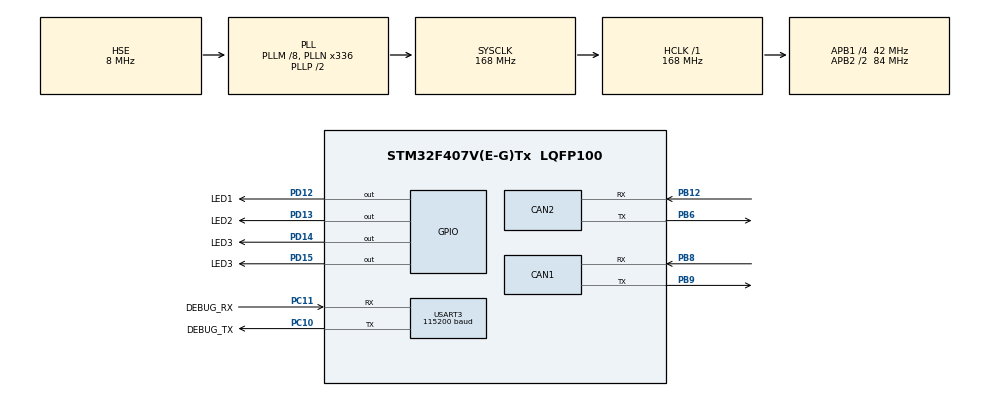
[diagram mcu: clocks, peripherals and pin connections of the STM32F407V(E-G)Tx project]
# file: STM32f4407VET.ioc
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CAN1.CalculateTimeBit-Master=1143
CAN1.CalculateTimeQuantum-Master=381
CAN2.CalculateTimeBit-Slave=1143
CAN2.CalculateTimeQuantum-Slave=381
FREERTOS.INCLUDE_eTaskGetState=1
FREERTOS.INCLUDE_pcTaskGetTaskName=1
FREERTOS.INCLUDE_uxTaskGetStackHighWaterMark=1
FREERTOS.INCLUDE_vTaskCleanUpResources=1
FREERTOS.INCLUDE_vTaskDelayUntil=1
FREERTOS.INCLUDE_xEventGroupSetBitFromISR=1
FREERTOS.INCLUDE_xQueueGetMutexHolder=1
FREERTOS.INCLUDE_xSemaphoreGetMutexHolder=1
FREERTOS.INCLUDE_xTaskGetCurrentTaskHandle=1
FREERTOS.INCLUDE_xTimerPendFunctionCall=1
FREERTOS.Queues01=logQueue,16,uint32_t,NULL
FREERTOS.Tasks01=defaultTask,0,128,StartDefaultTask;UartTask,0,128,uartTaskHandler;LedsTask,-3,128,ledsTaskHandler;LogTask,1,128,logTaskHandler
FREERTOS.configCHECK_FOR_STACK_OVERFLOW=2
FREERTOS.configENABLE_BACKWARD_COMPATIBILITY=0
FREERTOS.configGENERATE_RUN_TIME_STATS=1
FREERTOS.configMAX_PRIORITIES=7
FREERTOS.configTICK_RATE_HZ=200
FREERTOS.configTOTAL_HEAP_SIZE=15360
FREERTOS.configUSE_IDLE_HOOK=1
FREERTOS.configUSE_MALLOC_FAILED_HOOK=1
FREERTOS.configUSE_TICK_HOOK=1
FREERTOS.configUSE_TIMERS=1
Mcu.Family=STM32F4
Mcu.Name=STM32F407V(E-G)Tx
Mcu.Package=LQFP100
NVIC.PriorityGroup=NVIC_PRIORITYGROUP_4
NVIC.RTC_Alarm_IRQn=true\:5\:0\:false
PA13.Mode=Trace-Asynchronous_SW
PA13.Signal=SYS_JTMS-SWDIO
PA14.Mode=Trace-Asynchronous_SW
PA14.Signal=SYS_JTCK-SWCLK
PB12.Mode=Slave
PB12.Signal=CAN2_RX
PB3.Mode=Trace-Asynchronous_SW
PB3.Signal=SYS_JTDO-SWO
PB6.Mode=Slave
PB6.Signal=CAN2_TX
PB8.Mode=Master
PB8.Signal=CAN1_RX
PB9.Mode=Master
PB9.Signal=CAN1_TX
PC10.GPIO_Label=DEBUG_TX
PC10.GPIO_Mode=GPIO_MODE_AF_PP
PC10.GPIO_PuPd=GPIO_PULLUP
PC10.GPIO_Speed=GPIO_SPEED_LOW
PC10.Mode=Asynchronous
PC10.Signal=USART3_TX
PC11.GPIO_Label=DEBUG_RX
PC11.GPIO_Mode=GPIO_MODE_AF_PP
PC11.GPIO_PuPd=GPIO_PULLUP
PC11.GPIO_Speed=GPIO_SPEED_LOW
PC11.Mode=Asynchronous
PC11.Signal=USART3_RX
PC14-OSC32_IN.Mode=LSE-External-Oscillator
PC14-OSC32_IN.Signal=RCC_OSC32_IN
PC15-OSC32_OUT.Mode=LSE-External-Oscillator
PC15-OSC32_OUT.Signal=RCC_OSC32_OUT
PD12.GPIO_Label=LED1
PD12.GPIO_ModeDefaultOutputPP=GPIO_MODE_OUTPUT_PP
PD12.GPIO_PuPd=GPIO_PULLUP
PD12.GPIO_Speed=GPIO_SPEED_HIGH
PD12.Signal=GPIO_Output
PD13.GPIO_Label=LED2
PD13.GPIO_ModeDefaultOutputPP=GPIO_MODE_OUTPUT_PP
PD13.GPIO_PuPd=GPIO_PULLUP
PD13.GPIO_Speed=GPIO_SPEED_HIGH
PD13.Signal=GPIO_Output
PD14.GPIO_Label=LED3
PD14.GPIO_ModeDefaultOutputPP=GPIO_MODE_OUTPUT_PP
PD14.GPIO_PuPd=GPIO_PULLUP
PD14.GPIO_Speed=GPIO_SPEED_HIGH
PD14.Signal=GPIO_Output
PD15.GPIO_Label=LED3
PD15.GPIO_ModeDefaultOutputPP=GPIO_MODE_OUTPUT_PP
PD15.GPIO_PuPd=GPIO_PULLUP
PD15.GPIO_Speed=GPIO_SPEED_HIGH
PD15.Signal=GPIO_Output
PH0-OSC_IN.Mode=HSE-External-Oscillator
PH0-OSC_IN.Signal=RCC_OSC_IN
PH1-OSC_OUT.Mode=HSE-External-Oscillator
PH1-OSC_OUT.Signal=RCC_OSC_OUT
ProjectManager.TargetToolchain=TrueSTUDIO 4.3.1
RCC.48MHZClocksFreq_Value=84000000
RCC.AHBFreq_Value=168000000
RCC.APB1CLKDivider=RCC_HCLK_DIV4
RCC.APB1Freq_Value=42000000
RCC.APB1TimFreq_Value=84000000
RCC.APB2CLKDivider=RCC_HCLK_DIV2
RCC.APB2Freq_Value=84000000
RCC.APB2TimFreq_Value=168000000
RCC.CortexFreq_Value=21000000
RCC.HCLKFreq_Value=168000000
RCC.HSE_VALUE=8000000
RCC.HSI_VALUE=16000000
RCC.PLLM=8
RCC.PLLN=336
RCC.PLLSourceVirtual=RCC_PLLSOURCE_HSE
RCC.RCC_MCO1Source=RCC_MCO1SOURCE_PLLCLK
RCC.RCC_MCODiv1=RCC_MCODIV_4
RCC.RCC_RTC_Clock_Source=RCC_RTCCLKSOURCE_LSE
RCC.RCC_RTC_Clock_Source_FROM_HSE=RCC_RTCCLKSOURCE_HSE_DIV30
RCC.SYSCLKFreq_VALUE=168000000
RCC.SYSCLKSource=RCC_SYSCLKSOURCE_PLLCLK
RCC.VCOOutputFreq_Value=336000000
USART3.BaudRate=115200
USART3.Parity-Asynchronous=UART_PARITY_NONE
VP_FREERTOS_VS_ENABLE.Mode=Enabled
VP_RTC_VS_RTC_Alarm_A_Intern.Mode=Alarm A

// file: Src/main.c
/**
  ******************************************************************************
  * File Name          : main.c
  * Date               : 20/02/2015 18:07:30
  * Description        : Main program body
  ******************************************************************************
  *
  * COPYRIGHT(c) 2015 STMicroelectronics
  *
  * Redistribution and use in source and binary forms, with or without modification,
  * are permitted provided that the following conditions are met:
  *   1. Redistributions of source code must retain the above copyright notice,
  *      this list of conditions and the following disclaimer.
  *   2. Redistributions in binary form must reproduce the above copyright notice,
  *      this list of conditions and the following disclaimer in the documentation
  *      and/or other materials provided with the distribution.
  *   3. Neither the name of STMicroelectronics nor the names of its contributors
  *      may be used to endorse or promote products derived from this software
  *      without specific prior written permission.
  *
  * THIS SOFTWARE IS PROVIDED BY THE COPYRIGHT HOLDERS AND CONTRIBUTORS "AS IS"
  * AND ANY EXPRESS OR IMPLIED WARRANTIES, INCLUDING, BUT NOT LIMITED TO, THE
  * IMPLIED WARRANTIES OF MERCHANTABILITY AND FITNESS FOR A PARTICULAR PURPOSE ARE
  * DISCLAIMED. IN NO EVENT SHALL THE COPYRIGHT HOLDER OR CONTRIBUTORS BE LIABLE
  * FOR ANY DIRECT, INDIRECT, INCIDENTAL, SPECIAL, EXEMPLARY, OR CONSEQUENTIAL
  * DAMAGES (INCLUDING, BUT NOT LIMITED TO, PROCUREMENT OF SUBSTITUTE GOODS OR
  * SERVICES; LOSS OF USE, DATA, OR PROFITS; OR BUSINESS INTERRUPTION) HOWEVER
  * CAUSED AND ON ANY THEORY OF LIABILITY, WHETHER IN CONTRACT, STRICT LIABILITY,
  * OR TORT (INCLUDING NEGLIGENCE OR OTHERWISE) ARISING IN ANY WAY OUT OF THE USE
  * OF THIS SOFTWARE, EVEN IF ADVISED OF THE POSSIBILITY OF SUCH DAMAGE.
  *
  ******************************************************************************
  */

#include "stm32f4xx_hal.h"
#include "cmsis_os.h"
#include "can.h"
#include "rtc.h"
#include "usart.h"
#include "gpio.h"

/* USER CODE BEGIN Includes */
#include <stddef.h>
#include "Log.h"
#include "usart.h"
/* USER CODE END Includes */

void SystemClock_Config(void);
void MX_FREERTOS_Init(void);

/* USER CODE BEGIN PFP */
LogStatus logUart3Implementation(uint32_t msg);
/* USER CODE END PFP */

int main(void)
{

  /* MCU Configuration----------------------------------------------------------*/

  /* Reset of all peripherals, Initializes the Flash interface and the Systick. */
  HAL_Init();

  /* Configure the system clock */
  SystemClock_Config();

  /* Initialize all configured peripherals */
  MX_GPIO_Init();
  MX_CAN1_Init();
  MX_CAN2_Init();
  MX_RTC_Init();
  MX_USART3_UART_Init();

  /* USER CODE BEGIN 2 */
  logInit(logUart3Implementation);
  /* USER CODE END 2 */

  /* Call init function for freertos objects (in freertos.c) */
  MX_FREERTOS_Init();

  /* Start scheduler */
  osKernelStart();

  /* We should never get here as control is now taken by the scheduler */

  /* USER CODE BEGIN 3 */

  /* Infinite loop */
  while (1)
  {
	  HAL_Delay(250);
  }

  /* USER CODE END 3 */

}

/** System Clock Configuration
*/
void SystemClock_Config(void)
{

  RCC_OscInitTypeDef RCC_OscInitStruct;
  RCC_ClkInitTypeDef RCC_ClkInitStruct;
  RCC_PeriphCLKInitTypeDef PeriphClkInitStruct;

  __PWR_CLK_ENABLE();

  __HAL_PWR_VOLTAGESCALING_CONFIG(PWR_REGULATOR_VOLTAGE_SCALE1);

  RCC_OscInitStruct.OscillatorType = RCC_OSCILLATORTYPE_HSE|RCC_OSCILLATORTYPE_LSE;
  RCC_OscInitStruct.HSEState = RCC_HSE_ON;
  RCC_OscInitStruct.LSEState = RCC_LSE_ON;
  RCC_OscInitStruct.PLL.PLLState = RCC_PLL_ON;
  RCC_OscInitStruct.PLL.PLLSource = RCC_PLLSOURCE_HSE;
  RCC_OscInitStruct.PLL.PLLM = 8;
  RCC_OscInitStruct.PLL.PLLN = 336;
  RCC_OscInitStruct.PLL.PLLP = RCC_PLLP_DIV2;
  RCC_OscInitStruct.PLL.PLLQ = 4;
  HAL_RCC_OscConfig(&RCC_OscInitStruct);

  RCC_ClkInitStruct.ClockType = RCC_CLOCKTYPE_SYSCLK|RCC_CLOCKTYPE_PCLK1
                              |RCC_CLOCKTYPE_PCLK2;
  RCC_ClkInitStruct.SYSCLKSource = RCC_SYSCLKSOURCE_PLLCLK;
  RCC_ClkInitStruct.AHBCLKDivider = RCC_SYSCLK_DIV1;
  RCC_ClkInitStruct.APB1CLKDivider = RCC_HCLK_DIV4;
  RCC_ClkInitStruct.APB2CLKDivider = RCC_HCLK_DIV2;
  HAL_RCC_ClockConfig(&RCC_ClkInitStruct, FLASH_LATENCY_5);

  PeriphClkInitStruct.PeriphClockSelection = RCC_PERIPHCLK_RTC;
  PeriphClkInitStruct.RTCClockSelection = RCC_RTCCLKSOURCE_LSE;
  HAL_RCCEx_PeriphCLKConfig(&PeriphClkInitStruct);

}

/* USER CODE BEGIN 4 */

static uint8_t userData[20];
static uint8_t hexDigits[] = {'0', '1', '2', '3', '4', '5', '6', '7', '8', '9', 'A', 'B', 'C', 'D', 'E', 'F'};

#define NIBBLE2HEX(nibble)  (hexDigits[nibble])

LogStatus logUart3Implementation(uint32_t msg)
{
   LogStatus         retVal            = Log_Ok;
   uint8_t           meta              = msg >> 24;
   LogSource         source            = (LogSource)(meta >> 2);
   LogType           type              = (LogType)(meta & 0x3);
   int32_t           i                 = 0;
   int32_t           ui                = 0;
   extern LogInfo logSourceNames[];
   extern LogInfo logTypeNames[];

   /* sending the source */
   char *            p                 = source < Log_SourceCount ? logSourceNames[source].description : logSourceNames[Log_SourceInvalid].description;
   uint16_t          len               = 15;
   HAL_UART_Transmit(&huart3, (uint8_t*)p, len, 100);

   /* sending the type */
   p        = type < Log_TypeCount ? logTypeNames[type].description : logTypeNames[Log_TypeCount].description;
   len      = 7;
   HAL_UART_Transmit(&huart3, (uint8_t*)p, len, 100);

   /* sending the user data */
   userData[ui++] = ' ';
   userData[ui++] = ' ';

   for(i = 2; i >= 0; i--)
   {
      uint8_t userByte = (msg >> i * 8) & 0xFF;
      userData[ui++] = NIBBLE2HEX((userByte & 0xF) >> 4);
      userData[ui++] = NIBBLE2HEX(userByte & 0xF);
      userData[ui++] = ' ';
   }
   userData[ui++] = '\r';
   userData[ui++] = '\n';
   HAL_UART_Transmit(&huart3, userData, ui, 100);
   return retVal;
}

/* USER CODE END 4 */

void StartDefaultTask(void const * argument)
{

  for(;;)
  {
    osDelay(1);
  }

}

/************************ (C) COPYRIGHT STMicroelectronics *****END OF FILE****/

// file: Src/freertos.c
/**
  ******************************************************************************
  * File Name          : freertos.c
  * Date               : 20/02/2015 18:07:30
  * Description        : Code for freertos applications
  ******************************************************************************
  *
  * COPYRIGHT(c) 2015 STMicroelectronics
  *
  * Redistribution and use in source and binary forms, with or without modification,
  * are permitted provided that the following conditions are met:
  *   1. Redistributions of source code must retain the above copyright notice,
  *      this list of conditions and the following disclaimer.
  *   2. Redistributions in binary form must reproduce the above copyright notice,
  *      this list of conditions and the following disclaimer in the documentation
  *      and/or other materials provided with the distribution.
  *   3. Neither the name of STMicroelectronics nor the names of its contributors
  *      may be used to endorse or promote products derived from this software
  *      without specific prior written permission.
  *
  * THIS SOFTWARE IS PROVIDED BY THE COPYRIGHT HOLDERS AND CONTRIBUTORS "AS IS"
  * AND ANY EXPRESS OR IMPLIED WARRANTIES, INCLUDING, BUT NOT LIMITED TO, THE
  * IMPLIED WARRANTIES OF MERCHANTABILITY AND FITNESS FOR A PARTICULAR PURPOSE ARE
  * DISCLAIMED. IN NO EVENT SHALL THE COPYRIGHT HOLDER OR CONTRIBUTORS BE LIABLE
  * FOR ANY DIRECT, INDIRECT, INCIDENTAL, SPECIAL, EXEMPLARY, OR CONSEQUENTIAL
  * DAMAGES (INCLUDING, BUT NOT LIMITED TO, PROCUREMENT OF SUBSTITUTE GOODS OR
  * SERVICES; LOSS OF USE, DATA, OR PROFITS; OR BUSINESS INTERRUPTION) HOWEVER
  * CAUSED AND ON ANY THEORY OF LIABILITY, WHETHER IN CONTRACT, STRICT LIABILITY,
  * OR TORT (INCLUDING NEGLIGENCE OR OTHERWISE) ARISING IN ANY WAY OUT OF THE USE
  * OF THIS SOFTWARE, EVEN IF ADVISED OF THE POSSIBILITY OF SUCH DAMAGE.
  *
  ******************************************************************************
  */

#include "FreeRTOS.h"
#include "task.h"
#include "cmsis_os.h"

/* USER CODE BEGIN Includes */
#include "gpio.h"
#include "usart.h"
#include "log.h"
/* USER CODE END Includes */

osThreadId defaultTaskHandle;
osThreadId UartTaskHandle;
osThreadId LedsTaskHandle;
osThreadId LogTaskHandle;
osMessageQId logQueueHandle;

void StartDefaultTask(void const * argument);
void uartTaskHandler(void const * argument);
void ledsTaskHandler(void const * argument);
void logTaskHandler(void const * argument);

/* Hook prototypes */
void configureTimerForRunTimeStats(void);
unsigned long getRunTimeCounterValue(void);
void vApplicationIdleHook(void);
void vApplicationTickHook(void);
void vApplicationStackOverflowHook(TaskHandle_t xTask, signed char *pcTaskName);
void vApplicationMallocFailedHook(void);

/* USER CODE BEGIN 1 */
/* Functions needed when configGENERATE_RUN_TIME_STATS is on */
void configureTimerForRunTimeStats(void)
{

}

unsigned long getRunTimeCounterValue(void)
{
return 0;
}
/* USER CODE END 1 */

/* USER CODE BEGIN 2 */
void vApplicationIdleHook( void )
{
   /* vApplicationIdleHook() will only be called if configUSE_IDLE_HOOK is set
   to 1 in FreeRTOSConfig.h. It will be called on each iteration of the idle
   task. It is essential that code added to this hook function never attempts
   to block in any way (for example, call xQueueReceive() with a block time
   specified, or call vTaskDelay()). If the application makes use of the
   vTaskDelete() API function (as this demo application does) then it is also
   important that vApplicationIdleHook() is permitted to return to its calling
   function, because it is the responsibility of the idle task to clean up
   memory allocated by the kernel to any task that has since been deleted. */
}
/* USER CODE END 2 */

/* USER CODE BEGIN 3 */
void vApplicationTickHook( void )
{
   /* This function will be called by each tick interrupt if
   configUSE_TICK_HOOK is set to 1 in FreeRTOSConfig.h. User code can be
   added here, but the tick hook is called from an interrupt context, so
   code must not attempt to block, and only the interrupt safe FreeRTOS API
   functions can be used (those that end in FromISR()). */
}
/* USER CODE END 3 */

/* USER CODE BEGIN 4 */
void vApplicationStackOverflowHook(TaskHandle_t xTask, signed char *pcTaskName)
{
   /* Run time stack overflow checking is performed if
   configCHECK_FOR_STACK_OVERFLOW is defined to 1 or 2. This hook function is
   called if a stack overflow is detected. */
}
/* USER CODE END 4 */

/* USER CODE BEGIN 5 */
void vApplicationMallocFailedHook(void)
{
   /* vApplicationMallocFailedHook() will only be called if
   configUSE_MALLOC_FAILED_HOOK is set to 1 in FreeRTOSConfig.h. It is a hook
   function that will get called if a call to pvPortMalloc() fails.
   pvPortMalloc() is called internally by the kernel whenever a task, queue,
   timer or semaphore is created. It is also called by various parts of the
   demo application. If heap_1.c or heap_2.c are used, then the size of the
   heap available to pvPortMalloc() is defined by configTOTAL_HEAP_SIZE in
   FreeRTOSConfig.h, and the xPortGetFreeHeapSize() API function can be used
   to query the size of free heap space that remains (although it does not
   provide information on how the remaining heap might be fragmented). */
}
/* USER CODE END 5 */

/* Init FreeRTOS */

void MX_FREERTOS_Init() {

  /* Create the thread(s) */
  /* definition and creation of defaultTask */
  osThreadDef(defaultTask, StartDefaultTask, osPriorityNormal, 0, 128);
  defaultTaskHandle = osThreadCreate(osThread(defaultTask), NULL);

  /* definition and creation of UartTask */
  osThreadDef(UartTask, uartTaskHandler, osPriorityNormal, 0, 128);
  UartTaskHandle = osThreadCreate(osThread(UartTask), NULL);

  /* definition and creation of LedsTask */
  osThreadDef(LedsTask, ledsTaskHandler, osPriorityIdle, 0, 128);
  LedsTaskHandle = osThreadCreate(osThread(LedsTask), NULL);

  /* definition and creation of LogTask */
  osThreadDef(LogTask, logTaskHandler, osPriorityAboveNormal, 0, 128);
  LogTaskHandle = osThreadCreate(osThread(LogTask), NULL);

  /* Create the queue(s) */
  /* definition and creation of logQueue */
  osMessageQDef(logQueue, 16, uint32_t);
  logQueueHandle = osMessageCreate(osMessageQ(logQueue), NULL);

  /* USER CODE BEGIN RTOS_QUEUES */
  logMsg(Log_SourceInit, Log_TypeDebug, 0);
  /* USER CODE END RTOS_QUEUES */
}

/* uartTaskHandler function */
void uartTaskHandler(void const * argument)
{
  /* USER CODE BEGIN uartTaskHandler */
  /* Infinite loop */
  uint32_t cnt = 0;

  for(;;)
  {
	  osDelay(5000);
	  logMsg(Log_SourceUartTask, Log_TypeDebug, cnt++);
	  /* transmit dummy on UART 3 */
  }
  /* USER CODE END uartTaskHandler */
}

/* ledsTaskHandler function */
void ledsTaskHandler(void const * argument)
{
  /* USER CODE BEGIN ledsTaskHandler */
  /* Infinite loop */
  uint32_t cnt = 0;
  for(;;)
  {
	  	  /* Blink the LEDs */
	  GPIOD->ODR = (1u << ((cnt) + 12));

	  cnt = (cnt + 1) % 4 ;
	  logMsg(Log_SourceLEDTask, cnt, cnt);
	  osDelay(250);
  }
  /* USER CODE END ledsTaskHandler */
}

/* logTaskHandler function */
void logTaskHandler(void const * argument)
{
  /* USER CODE BEGIN logTaskHandler */
   logGenericTaskHandler(argument);
  /* USER CODE END logTaskHandler */
}

/************************ (C) COPYRIGHT STMicroelectronics *****END OF FILE****/
